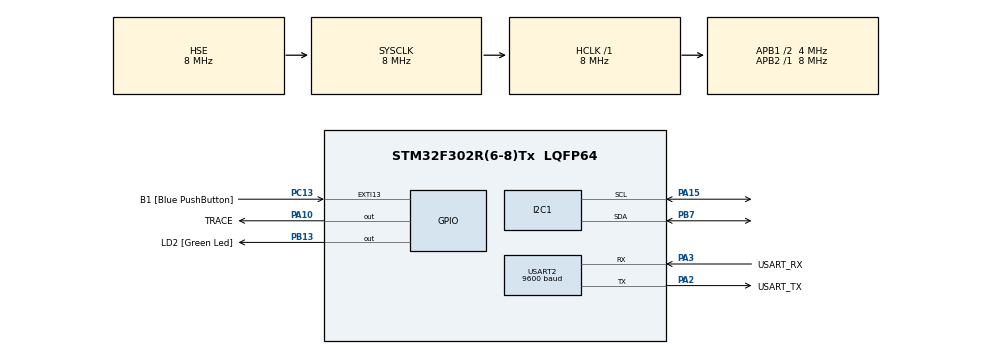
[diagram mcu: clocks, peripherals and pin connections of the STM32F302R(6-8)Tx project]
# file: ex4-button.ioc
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I2C1.Timing=0x00201D2B
Mcu.Family=STM32F3
Mcu.Name=STM32F302R(6-8)Tx
Mcu.Package=LQFP64
NVIC.EXTI15_10_IRQn=true\:0\:0\:false\:false\:true\:true\:true\:true
NVIC.I2C1_EV_IRQn=true\:0\:0\:false\:false\:true\:true\:true\:true
NVIC.PriorityGroup=NVIC_PRIORITYGROUP_0
PA10.GPIO_Label=TRACE
PA10.Signal=GPIO_Output
PA13.GPIO_Label=TMS
PA13.Mode=Serial_Wire
PA13.Signal=SYS_JTMS-SWDIO
PA14.GPIO_Label=TCK
PA14.Mode=Serial_Wire
PA14.Signal=SYS_JTCK-SWCLK
PA15.Mode=I2C
PA15.Signal=I2C1_SCL
PA2.GPIO_Label=USART_TX
PA2.GPIO_Mode=GPIO_MODE_AF_PP
PA2.GPIO_PuPd=GPIO_NOPULL
PA2.GPIO_Speed=GPIO_SPEED_FREQ_LOW
PA2.Mode=Asynchronous
PA2.Signal=USART2_TX
PA3.GPIO_Label=USART_RX
PA3.GPIO_Mode=GPIO_MODE_AF_PP
PA3.GPIO_PuPd=GPIO_NOPULL
PA3.GPIO_Speed=GPIO_SPEED_FREQ_LOW
PA3.Mode=Asynchronous
PA3.Signal=USART2_RX
PB13.GPIO_Label=LD2 [Green Led]
PB13.Signal=GPIO_Output
PB3.GPIO_Label=SWO
PB3.Mode=Trace_Asynchronous_SW
PB3.Signal=SYS_JTDO-TRACESWO
PB7.Mode=I2C
PB7.Signal=I2C1_SDA
PC13.GPIO_Label=B1 [Blue PushButton]
PC13.GPIO_ModeDefaultEXTI=GPIO_MODE_IT_FALLING
PC13.Signal=GPXTI13
PC14\ -\ OSC32_IN.Mode=LSE-External-Oscillator
PC14\ -\ OSC32_IN.Signal=RCC_OSC32_IN
PC15\ -\ OSC32_OUT.Mode=LSE-External-Oscillator
PC15\ -\ OSC32_OUT.Signal=RCC_OSC32_OUT
PF0-OSC_IN.Mode=HSE-External-Clock-Source
PF0-OSC_IN.Signal=RCC_OSC_IN
PF1-OSC_OUT.Signal=RCC_OSC_OUT
ProjectManager.HeapSize=0x200
ProjectManager.StackSize=0x400
ProjectManager.TargetToolchain=STM32CubeIDE
RCC.AHBFreq_Value=8000000
RCC.APB1CLKDivider=RCC_HCLK_DIV2
RCC.APB1Freq_Value=4000000
RCC.APB1TimFreq_Value=8000000
RCC.APB2Freq_Value=8000000
RCC.APB2TimFreq_Value=8000000
RCC.CortexFreq_Value=8000000
RCC.HCLKFreq_Value=8000000
RCC.HSE_VALUE=8000000
RCC.HSI_VALUE=8000000
RCC.PLLM=8
RCC.PLLMUL=RCC_PLL_MUL8
RCC.PLLN=336
RCC.PLLP=RCC_PLLP_DIV4
RCC.PLLQ=7
RCC.RCC_PLLsource_Clock_Source_FROM_HSE=RCC_HSE_PREDIV_DIV2
RCC.SYSCLKFreq_VALUE=8000000
RCC.SYSCLKSourceVirtual=RCC_SYSCLKSOURCE_HSE
RCC.USBFreq_Value=32000000
USART2.BaudRate=9600
USART2.VirtualMode-Asynchronous=VM_ASYNC
board=NUCLEO-F302R8

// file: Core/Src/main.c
/* USER CODE BEGIN Header */
/**
  ******************************************************************************
  * @file           : main.c
  * @brief          : Main program body
  ******************************************************************************
  * @attention
  *
  * Copyright (c) 2026 STMicroelectronics.
  * All rights reserved.
  *
  * This software is licensed under terms that can be found in the LICENSE file
  * in the root directory of this software component.
  * If no LICENSE file comes with this software, it is provided AS-IS.
  *
  ******************************************************************************
  */
/* USER CODE END Header */
#include "main.h"
#include "i2c.h"
#include "usart.h"
#include "gpio.h"

/* USER CODE BEGIN Includes */
#include<string.h>
#include<stdio.h>
/* USER CODE END Includes */

/* USER CODE BEGIN PTD */
typedef enum {
  STATE_AWAKE,
  STATE_SLEEP_REQUESTED,
  STATE_SLEEPING
} AppState_t;
/* USER CODE END PTD */

/* USER CODE BEGIN PV */
volatile AppState_t g_app_state = STATE_AWAKE;
extern I2C_HandleTypeDef hi2c1;
extern UART_HandleTypeDef huart2;

static const uint8_t TMP102_ADDR = 0x48 << 1; // Use 8-bit address
static const uint8_t REG_TEMP = 0x00;
/* USER CODE END PV */

void SystemClock_Config(void);

int main(void)
{

  /* USER CODE BEGIN 1 */
  HAL_StatusTypeDef ret;
  uint8_t buf[12];
  int16_t val;
  float temp_c;
  /* USER CODE END 1 */

  /* MCU Configuration--------------------------------------------------------*/

  /* Reset of all peripherals, Initializes the Flash interface and the Systick. */
  HAL_Init();

  /* Configure the system clock */
  SystemClock_Config();

  /* Initialize all configured peripherals */
  MX_GPIO_Init();
  MX_I2C1_Init();
  MX_USART2_UART_Init();
  /* USER CODE BEGIN 2 */
  HAL_GPIO_WritePin(TRACE_GPIO_Port, TRACE_Pin, GPIO_PIN_SET);
  /* USER CODE END 2 */

  /* Infinite loop */
  /* USER CODE BEGIN WHILE */
  while (1)
  {
    if (g_app_state == STATE_SLEEP_REQUESTED) {
        uint8_t tx_buf[] = "Going to sleep!\r\n";
        HAL_UART_Transmit(&huart2, tx_buf, strlen((char*)tx_buf), HAL_MAX_DELAY);
        HAL_GPIO_WritePin(TRACE_GPIO_Port, TRACE_Pin, GPIO_PIN_RESET);

        g_app_state = STATE_SLEEPING;

        HAL_SuspendTick();
        HAL_PWR_EnterSTOPMode(PWR_LOWPOWERREGULATOR_ON, PWR_STOPENTRY_WFI);
        // --- Execution resumes here after wake-up ---

        // Now we are awake
        g_app_state = STATE_AWAKE;

        HAL_ResumeTick();
        SystemClock_Config();

        // Re-init peripherals
        MX_USART2_UART_Init();
        MX_I2C1_Init();

        uint8_t wake_buf[] = "Woke up!\r\n";
        HAL_UART_Transmit(&huart2, wake_buf, strlen((char*)wake_buf), HAL_MAX_DELAY);
        HAL_GPIO_WritePin(TRACE_GPIO_Port, TRACE_Pin, GPIO_PIN_SET);

    } else if (g_app_state == STATE_AWAKE) {
	    HAL_GPIO_WritePin(LD2_GPIO_Port, LD2_Pin, GPIO_PIN_SET);
	    // Tell TMP102 that we want to read from the temperature register
	    buf[0] = REG_TEMP;
	    ret = HAL_I2C_Master_Transmit(&hi2c1, TMP102_ADDR, buf, 1, HAL_MAX_DELAY);
	    if ( ret != HAL_OK ) {
	      strcpy((char*)buf, "Error Tx\r\n");
	    } else {

	      // Read 2 bytes from the temperature register
	      ret = HAL_I2C_Master_Receive(&hi2c1, TMP102_ADDR, buf, 1, HAL_MAX_DELAY);
	      if ( ret != HAL_OK ) {
	        strcpy((char*)buf, "Error Rx\r\n");
	      } else {

	        //Combine the bytes
	        val = ((int16_t)buf[0] << 4) | (buf[1] >> 4);

	        // Convert to 2's complement, since temperature can be negative
	        if ( val > 0x7FF ) {
	          val |= 0xF000;
	        }

	        // Convert to float temperature value (Celsius)
	        temp_c = val * 0.0625;

	        // Convert temperature to decimal format
	        temp_c *= 100;
	        sprintf((char*)buf,
	              "%u.%u C\r\n",
	              ((unsigned int)temp_c / 100),
	              ((unsigned int)temp_c % 100));
	      }
	    }

	    // Send out buffer (temperature or error message)
	    HAL_UART_Transmit(&huart2, buf, strlen((char*)buf), HAL_MAX_DELAY);

	    HAL_GPIO_WritePin(LD2_GPIO_Port, LD2_Pin, GPIO_PIN_RESET);
	    // Wait
	    HAL_Delay(500);
    }
    /* USER CODE END WHILE */

  }
}

void SystemClock_Config(void)
{
  RCC_OscInitTypeDef RCC_OscInitStruct = {0};
  RCC_ClkInitTypeDef RCC_ClkInitStruct = {0};
  RCC_PeriphCLKInitTypeDef PeriphClkInit = {0};

  /** Initializes the RCC Oscillators according to the specified parameters
  * in the RCC_OscInitTypeDef structure.
  */
  RCC_OscInitStruct.OscillatorType = RCC_OSCILLATORTYPE_HSI|RCC_OSCILLATORTYPE_HSE;
  RCC_OscInitStruct.HSEState = RCC_HSE_BYPASS;
  RCC_OscInitStruct.HSIState = RCC_HSI_ON;
  RCC_OscInitStruct.HSICalibrationValue = RCC_HSICALIBRATION_DEFAULT;
  RCC_OscInitStruct.PLL.PLLState = RCC_PLL_NONE;
  if (HAL_RCC_OscConfig(&RCC_OscInitStruct) != HAL_OK)
  {
    Error_Handler();
  }

  /** Initializes the CPU, AHB and APB buses clocks
  */
  RCC_ClkInitStruct.ClockType = RCC_CLOCKTYPE_HCLK|RCC_CLOCKTYPE_SYSCLK
                              |RCC_CLOCKTYPE_PCLK1|RCC_CLOCKTYPE_PCLK2;
  RCC_ClkInitStruct.SYSCLKSource = RCC_SYSCLKSOURCE_HSE;
  RCC_ClkInitStruct.AHBCLKDivider = RCC_SYSCLK_DIV1;
  RCC_ClkInitStruct.APB1CLKDivider = RCC_HCLK_DIV2;
  RCC_ClkInitStruct.APB2CLKDivider = RCC_HCLK_DIV1;

  if (HAL_RCC_ClockConfig(&RCC_ClkInitStruct, FLASH_LATENCY_0) != HAL_OK)
  {
    Error_Handler();
  }
  PeriphClkInit.PeriphClockSelection = RCC_PERIPHCLK_I2C1;
  PeriphClkInit.I2c1ClockSelection = RCC_I2C1CLKSOURCE_HSI;
  if (HAL_RCCEx_PeriphCLKConfig(&PeriphClkInit) != HAL_OK)
  {
    Error_Handler();
  }
}

/* USER CODE BEGIN 4 */

void HAL_GPIO_EXTI_Callback(uint16_t GPIO_Pin) {
	if (GPIO_Pin == B1_Pin) {
		if (g_app_state == STATE_AWAKE) {
			g_app_state = STATE_SLEEP_REQUESTED;
		}
	}
}
/* USER CODE END 4 */

void Error_Handler(void)
{
  __disable_irq();
  while (1)
  {
  }
}
